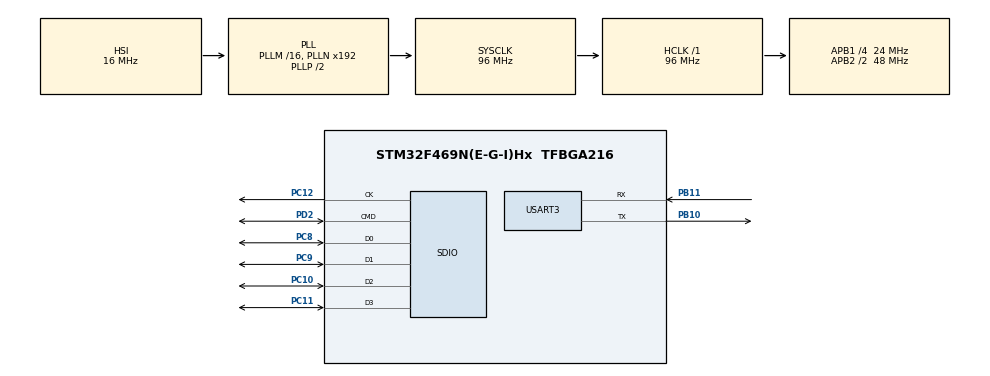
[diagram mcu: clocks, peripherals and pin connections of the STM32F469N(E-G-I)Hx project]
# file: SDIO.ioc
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Dma.Request0=SDIO_RX
Dma.Request1=SDIO_TX
Dma.SDIO_RX.0.Direction=DMA_PERIPH_TO_MEMORY
Dma.SDIO_RX.0.FIFOMode=DMA_FIFOMODE_ENABLE
Dma.SDIO_RX.0.FIFOThreshold=DMA_FIFO_THRESHOLD_FULL
Dma.SDIO_RX.0.Instance=DMA2_Stream3
Dma.SDIO_RX.0.MemBurst=DMA_MBURST_INC4
Dma.SDIO_RX.0.MemDataAlignment=DMA_MDATAALIGN_WORD
Dma.SDIO_RX.0.MemInc=DMA_MINC_ENABLE
Dma.SDIO_RX.0.Mode=DMA_PFCTRL
Dma.SDIO_RX.0.PeriphBurst=DMA_PBURST_INC4
Dma.SDIO_RX.0.PeriphDataAlignment=DMA_PDATAALIGN_WORD
Dma.SDIO_RX.0.PeriphInc=DMA_PINC_DISABLE
Dma.SDIO_RX.0.Priority=DMA_PRIORITY_LOW
Dma.SDIO_TX.1.Direction=DMA_MEMORY_TO_PERIPH
Dma.SDIO_TX.1.FIFOMode=DMA_FIFOMODE_ENABLE
Dma.SDIO_TX.1.FIFOThreshold=DMA_FIFO_THRESHOLD_FULL
Dma.SDIO_TX.1.Instance=DMA2_Stream6
Dma.SDIO_TX.1.MemBurst=DMA_MBURST_INC4
Dma.SDIO_TX.1.MemDataAlignment=DMA_MDATAALIGN_WORD
Dma.SDIO_TX.1.MemInc=DMA_MINC_ENABLE
Dma.SDIO_TX.1.Mode=DMA_PFCTRL
Dma.SDIO_TX.1.PeriphBurst=DMA_PBURST_INC4
Dma.SDIO_TX.1.PeriphDataAlignment=DMA_PDATAALIGN_WORD
Dma.SDIO_TX.1.PeriphInc=DMA_PINC_DISABLE
Dma.SDIO_TX.1.Priority=DMA_PRIORITY_LOW
Mcu.Family=STM32F4
Mcu.Name=STM32F469N(E-G-I)Hx
Mcu.Package=TFBGA216
NVIC.DMA2_Stream3_IRQn=true\:6\:0\:true\:false\:true
NVIC.DMA2_Stream6_IRQn=true\:6\:0\:true\:false\:true
NVIC.PriorityGroup=NVIC_PRIORITYGROUP_4
NVIC.SDIO_IRQn=true\:5\:0\:true\:false\:true
PB10.Mode=Asynchronous
PB10.Signal=USART3_TX
PB11.Mode=Asynchronous
PB11.Signal=USART3_RX
PC10.GPIO_Speed_High_Default=GPIO_SPEED_FREQ_HIGH
PC10.Mode=SD_4_bits_Wide_bus
PC10.Signal=SDIO_D2
PC11.GPIO_Speed_High_Default=GPIO_SPEED_FREQ_HIGH
PC11.Mode=SD_4_bits_Wide_bus
PC11.Signal=SDIO_D3
PC12.GPIO_Speed_High_Default=GPIO_SPEED_FREQ_HIGH
PC12.Mode=SD_4_bits_Wide_bus
PC12.Signal=SDIO_CK
PC8.GPIO_Speed_High_Default=GPIO_SPEED_FREQ_HIGH
PC8.Mode=SD_4_bits_Wide_bus
PC8.Signal=SDIO_D0
PC9.GPIO_Speed_High_Default=GPIO_SPEED_FREQ_HIGH
PC9.Mode=SD_4_bits_Wide_bus
PC9.Signal=SDIO_D1
PD2.GPIO_Speed_High_Default=GPIO_SPEED_FREQ_HIGH
PD2.Mode=SD_4_bits_Wide_bus
PD2.Signal=SDIO_CMD
ProjectManager.HeapSize=0x200
ProjectManager.StackSize=0x400
ProjectManager.TargetToolchain=MDK-ARM V5
RCC.AHBFreq_Value=96000000
RCC.APB1CLKDivider=RCC_HCLK_DIV4
RCC.APB1Freq_Value=24000000
RCC.APB1TimFreq_Value=48000000
RCC.APB2CLKDivider=RCC_HCLK_DIV2
RCC.APB2Freq_Value=48000000
RCC.APB2TimFreq_Value=96000000
RCC.CortexFreq_Value=96000000
RCC.HCLKFreq_Value=96000000
RCC.SYSCLKFreq_VALUE=96000000
RCC.SYSCLKSource=RCC_SYSCLKSOURCE_PLLCLK
RCC.VCOOutputFreq_Value=192000000
SDIO.BusWide=SDIO_BUS_WIDE_1B
SDIO.ClockDiv=0
SDIO.WideMode=SDIO_BUS_WIDE_4B
board=SDIO

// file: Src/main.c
/**
  ******************************************************************************
  * File Name          : main.c
  * Description        : Main program body
  ******************************************************************************
  *
  * COPYRIGHT(c) 2016 STMicroelectronics
  *
  * Redistribution and use in source and binary forms, with or without modification,
  * are permitted provided that the following conditions are met:
  *   1. Redistributions of source code must retain the above copyright notice,
  *      this list of conditions and the following disclaimer.
  *   2. Redistributions in binary form must reproduce the above copyright notice,
  *      this list of conditions and the following disclaimer in the documentation
  *      and/or other materials provided with the distribution.
  *   3. Neither the name of STMicroelectronics nor the names of its contributors
  *      may be used to endorse or promote products derived from this software
  *      without specific prior written permission.
  *
  * THIS SOFTWARE IS PROVIDED BY THE COPYRIGHT HOLDERS AND CONTRIBUTORS "AS IS"
  * AND ANY EXPRESS OR IMPLIED WARRANTIES, INCLUDING, BUT NOT LIMITED TO, THE
  * IMPLIED WARRANTIES OF MERCHANTABILITY AND FITNESS FOR A PARTICULAR PURPOSE ARE
  * DISCLAIMED. IN NO EVENT SHALL THE COPYRIGHT HOLDER OR CONTRIBUTORS BE LIABLE
  * FOR ANY DIRECT, INDIRECT, INCIDENTAL, SPECIAL, EXEMPLARY, OR CONSEQUENTIAL
  * DAMAGES (INCLUDING, BUT NOT LIMITED TO, PROCUREMENT OF SUBSTITUTE GOODS OR
  * SERVICES; LOSS OF USE, DATA, OR PROFITS; OR BUSINESS INTERRUPTION) HOWEVER
  * CAUSED AND ON ANY THEORY OF LIABILITY, WHETHER IN CONTRACT, STRICT LIABILITY,
  * OR TORT (INCLUDING NEGLIGENCE OR OTHERWISE) ARISING IN ANY WAY OUT OF THE USE
  * OF THIS SOFTWARE, EVEN IF ADVISED OF THE POSSIBILITY OF SUCH DAMAGE.
  *
  ******************************************************************************
  */
#include "stm32f4xx_hal.h"
#include "dma.h"
#include "sdio.h"
#include "usart.h"
#include "gpio.h"

/* USER CODE BEGIN Includes */
#include <string.h>
/* USER CODE END Includes */

/* USER CODE BEGIN PV */
/* Private variables ---------------------------------------------------------*/
HAL_SD_ErrorTypedef Status;
uint32_t Buffer_Tx[512/4], Buffer_Rx[512/4];
uint32_t i;

/* USER CODE END PV */

void SystemClock_Config(void);
void Error_Handler(void);

/* USER CODE BEGIN PFP */
/* Private function prototypes -----------------------------------------------*/

/* USER CODE END PFP */

int main(void)
{

  /* MCU Configuration----------------------------------------------------------*/

  /* Reset of all peripherals, Initializes the Flash interface and the Systick. */
  HAL_Init();

  /* Configure the system clock */
  SystemClock_Config();

  /* Initialize all configured peripherals */
  MX_GPIO_Init();
  MX_DMA_Init();
  MX_SDIO_SD_Init();
  MX_USART3_UART_Init();

  /* USER CODE BEGIN 2 */
    printf(" Warning: this program may erase all the TF card data. \r\n");
    printf("\r\n Initialize SD card successfully!\r\n\r\n");
    printf(" SD card information! \r\n");
    printf(" CardCapacity  : %llu \r\n",SDCardInfo.CardCapacity );
    printf(" CardBlockSize : %d \r\n",SDCardInfo.CardBlockSize);
    printf(" RCA           : %d \r\n",SDCardInfo.RCA);
    printf(" CardType      : %d \r\n",SDCardInfo.CardType);
    /*------------------- Block Write --------------------------*/
    memset(Buffer_Tx,0x15,sizeof(Buffer_Tx));
    if(HAL_SD_WriteBlocks_DMA(&hsd, Buffer_Tx, 0, 512, 1) == SD_OK)
    {
        Status = HAL_SD_CheckWriteOperation(&hsd, 0xFFFF);
        if (Status == SD_OK)
        {
            printf("\r\n Write block successfully!\r\n");
            for(i=0;i<sizeof(Buffer_Tx)>>2;i++)
            {
                printf("%02x:0x%08x ",i,Buffer_Tx[i]);
            }
            printf("\r\n");
        }
        else
            printf("\r\n Write block fail!\r\n");
    }
		    /*------------------- Block Read --------------------------*/
    if(HAL_SD_ReadBlocks_DMA(&hsd, Buffer_Rx, 0, 512, 1) == SD_OK)
    {
        Status = HAL_SD_CheckReadOperation(&hsd, 0xFFFF);
        if (Status == SD_OK)
        {
            printf("\r\n Read block successfully!\r\n");
            for(i=0;i<sizeof(Buffer_Rx)>>2;i++)
            {
                printf("%02x:0x%08x ",i,Buffer_Rx[i]);
            }
            printf("\r\n");
        }
        else
            printf("\r\n Read block fail!\r\n");
    }

    /*------------------- Block Erase -------------------------------*/
    Status = HAL_SD_Erase(&hsd, 0, 512);
    if (Status == SD_OK)
    printf("\r\n Erase block successfully!\r\n");
    else
        printf("\r\n Erase block fail!\r\n");

    /*------------------- Block Read --------------------------*/
    if(HAL_SD_ReadBlocks_DMA(&hsd, Buffer_Rx, 0, 512, 1) == SD_OK)
    {
        Status = HAL_SD_CheckReadOperation(&hsd, 0xFFFF);
        if (Status == SD_OK)
        {
            printf("\r\n Read block successfully!\r\n");
            for(i=0;i<sizeof(Buffer_Rx)>>2;i++)
            {
                printf("%02x:0x%08x ",i,Buffer_Rx[i]);
            }
            printf("\r\n");
        }
        else
            printf("\r\n Read block fail!\r\n");
    }
  /* USER CODE END 2 */

  /* Infinite loop */
  /* USER CODE BEGIN WHILE */
  while (1)
  {
		HAL_Delay(1000);
//		printf("\n\r could not send to the queue \n\r");

  /* USER CODE END WHILE */

  }

}

/** System Clock Configuration
*/
void SystemClock_Config(void)
{

  RCC_OscInitTypeDef RCC_OscInitStruct;
  RCC_ClkInitTypeDef RCC_ClkInitStruct;
  RCC_PeriphCLKInitTypeDef PeriphClkInitStruct;

  __HAL_RCC_PWR_CLK_ENABLE();

  __HAL_PWR_VOLTAGESCALING_CONFIG(PWR_REGULATOR_VOLTAGE_SCALE3);

  RCC_OscInitStruct.OscillatorType = RCC_OSCILLATORTYPE_HSI;
  RCC_OscInitStruct.HSIState = RCC_HSI_ON;
  RCC_OscInitStruct.HSICalibrationValue = 16;
  RCC_OscInitStruct.PLL.PLLState = RCC_PLL_ON;
  RCC_OscInitStruct.PLL.PLLSource = RCC_PLLSOURCE_HSI;
  RCC_OscInitStruct.PLL.PLLM = 16;
  RCC_OscInitStruct.PLL.PLLN = 192;
  RCC_OscInitStruct.PLL.PLLP = RCC_PLLP_DIV2;
  RCC_OscInitStruct.PLL.PLLQ = 4;
  RCC_OscInitStruct.PLL.PLLR = 2;
  if (HAL_RCC_OscConfig(&RCC_OscInitStruct) != HAL_OK)
  {
    Error_Handler();
  }

  RCC_ClkInitStruct.ClockType = RCC_CLOCKTYPE_HCLK|RCC_CLOCKTYPE_SYSCLK
                              |RCC_CLOCKTYPE_PCLK1|RCC_CLOCKTYPE_PCLK2;
  RCC_ClkInitStruct.SYSCLKSource = RCC_SYSCLKSOURCE_PLLCLK;
  RCC_ClkInitStruct.AHBCLKDivider = RCC_SYSCLK_DIV1;
  RCC_ClkInitStruct.APB1CLKDivider = RCC_HCLK_DIV4;
  RCC_ClkInitStruct.APB2CLKDivider = RCC_HCLK_DIV2;
  if (HAL_RCC_ClockConfig(&RCC_ClkInitStruct, FLASH_LATENCY_3) != HAL_OK)
  {
    Error_Handler();
  }

  PeriphClkInitStruct.PeriphClockSelection = RCC_PERIPHCLK_SDIO|RCC_PERIPHCLK_CLK48;
  PeriphClkInitStruct.Clk48ClockSelection = RCC_CLK48CLKSOURCE_PLLQ;
  PeriphClkInitStruct.SdioClockSelection = RCC_SDIOCLKSOURCE_CLK48;
  if (HAL_RCCEx_PeriphCLKConfig(&PeriphClkInitStruct) != HAL_OK)
  {
    Error_Handler();
  }

  HAL_SYSTICK_Config(HAL_RCC_GetHCLKFreq()/1000);

  HAL_SYSTICK_CLKSourceConfig(SYSTICK_CLKSOURCE_HCLK);

  /* SysTick_IRQn interrupt configuration */
  HAL_NVIC_SetPriority(SysTick_IRQn, 0, 0);
}

void Error_Handler(void)
{
  while(1)
  {
  }
}

/************************ (C) COPYRIGHT STMicroelectronics *****END OF FILE****/
